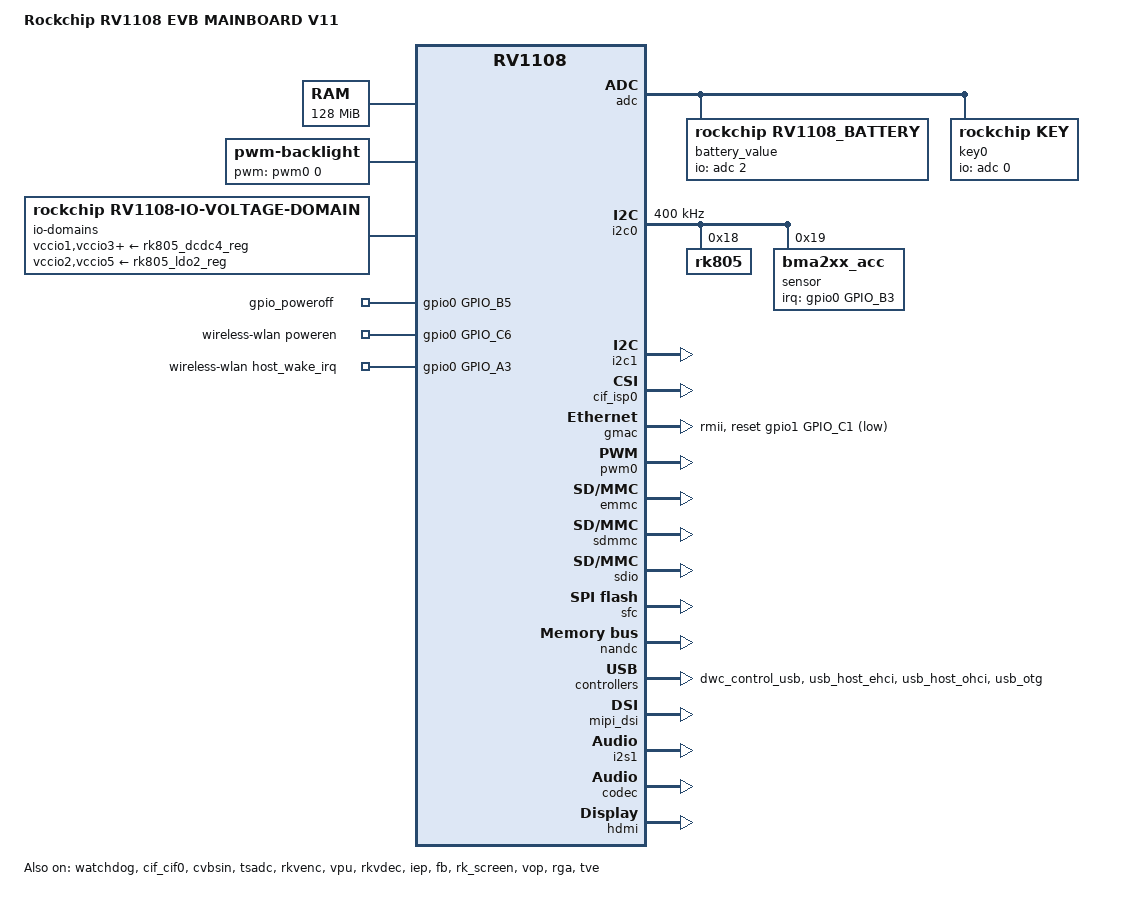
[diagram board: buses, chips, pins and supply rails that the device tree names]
/*
 * Copyright (c) 2016 Fuzhou Rockchip Electronics Co., Ltd
 *
 * This file is dual-licensed: you can use it either under the terms
 * of the GPL or the X11 license, at your option. Note that this dual
 * licensing only applies to this file, and not this project as a
 * whole.
 *
 *  a) This file is free software; you can redistribute it and/or
 *     modify it under the terms of the GNU General Public License as
 *     published by the Free Software Foundation; either version 2 of the
 *     License, or (at your option) any later version.
 *
 *     This file is distributed in the hope that it will be useful,
 *     but WITHOUT ANY WARRANTY; without even the implied warranty of
 *     MERCHANTABILITY or FITNESS FOR A PARTICULAR PURPOSE.  See the
 *     GNU General Public License for more details.
 *
 * Or, alternatively,
 *
 *  b) Permission is hereby granted, free of charge, to any person
 *     obtaining a copy of this software and associated documentation
 *     files (the "Software"), to deal in the Software without
 *     restriction, including without limitation the rights to use,
 *     copy, modify, merge, publish, distribute, sublicense, and/or
 *     sell copies of the Software, and to permit persons to whom the
 *     Software is furnished to do so, subject to the following
 *     conditions:
 *
 *     The above copyright notice and this permission notice shall be
 *     included in all copies or substantial portions of the Software.
 *
 *     THE SOFTWARE IS PROVIDED "AS IS", WITHOUT WARRANTY OF ANY KIND,
 *     EXPRESS OR IMPLIED, INCLUDING BUT NOT LIMITED TO THE WARRANTIES
 *     OF MERCHANTABILITY, FITNESS FOR A PARTICULAR PURPOSE AND
 *     NONINFRINGEMENT. IN NO EVENT SHALL THE AUTHORS OR COPYRIGHT
 *     HOLDERS BE LIABLE FOR ANY CLAIM, DAMAGES OR OTHER LIABILITY,
 *     WHETHER IN AN ACTION OF CONTRACT, TORT OR OTHERWISE, ARISING
 *     FROM, OUT OF OR IN CONNECTION WITH THE SOFTWARE OR THE USE OR
 *     OTHER DEALINGS IN THE SOFTWARE.
 */

/dts-v1/;

#include "rv1108.dtsi"
#include "lcd-ili9806e_mipi.dtsi" /* dispaly board v10 v11 */
//#include "lcd-e555hbm2_mipi.dtsi" /* display board v20*/
//#include "lcd-ili9807_mipi.dtsi" /* display board v30 */
#include "dt-bindings/suspend/rockchip-pm.h"

/ {
	model = "Rockchip RV1108 EVB MAINBOARD V11";
	compatible = "rockchip,rv1108-evb-v11", "rockchip,rv1108";

	memory {
		device_type = "memory";
		reg = <0x60000000 0x08000000>;
	};

	fiq-debugger {
		status = "okay";
		rockchip,serial-id = <2>;
		pinctrl-0 = <&uart2m0_xfer>;
	};

	rockchip_suspend: rockchip_suspend {
		rockchip,ctrbits = <
			(0
			|RKPM_CTR_GTCLKS
			|RKPM_CTR_PLLS
			/*|RKPM_CTR_ARMOFF_LPMD*/
			|RKPM_CTR_ARMLOGDP_LPMD
			/*|RKPM_CTR_IDLESRAM_MD*/
			|RKPM_CTR_DDR
			|RKPM_CTR_PMIC
			/*|RKPM_CTR_BUS_IDLE*/
			|RKPM_CTR_SYSCLK_32K
			)
			>;
		rockchip,pmic-suspend_gpios = <0>;
	};

	chosen {
		bootargs = "user_debug=31 rockchip_jtag noinitrd root=/dev/mtdblock3 rootfstype=squashfs";
	};

	ion {
		compatible = "rockchip,ion";
		#address-cells = <1>;
		#size-cells = <0>;

		/* memory region for dsp pool, start from 0x62000000 */
		dsp {
			compatible = "rockchip,ion-heap";
			rockchip,ion_heap = <2>;
			reg = <0x62000000 0x100000>; /* 1MB@32M */
		};
		ion_cma: rockchip,ion-heap@4 { /* CMA HEAP */
			compatible = "rockchip,ion-heap";
			rockchip,ion_heap = <4>;
			reg = <0x00000000 0x04400000>; /* 68MB */
		};
		rockchip,ion-heap@0 { /* VMALLOC HEAP */
			compatible = "rockchip,ion-heap";
			rockchip,ion_heap = <0>;
		};
	};

	backlight: backlight {
		compatible = "pwm-backlight";
		pwms = <&pwm0 0 25000>;
		brightness-levels = <
			  0   1   2   3   4   5   6   7
			  8   9  10  11  12  13  14  15
			 16  17  18  19  20  21  22  23
			 24  25  26  27  28  29  30  31
			 32  33  34  35  36  37  38  39
			 40  41  42  43  44  45  46  47
			 48  49  50  51  52  53  54  55
			 56  57  58  59  60  61  62  63
			 64  65  66  67  68  69  70  71
			 72  73  74  75  76  77  78  79
			 80  81  82  83  84  85  86  87
			 88  89  90  91  92  93  94  95
			 96  97  98  99 100 101 102 103
			104 105 106 107 108 109 110 111
			112 113 114 115 116 117 118 119
			120 121 122 123 124 125 126 127
			128 129 130 131 132 133 134 135
			136 137 138 139 140 141 142 143
			144 145 146 147 148 149 150 151
			152 153 154 155 156 157 158 159
			160 161 162 163 164 165 166 167
			168 169 170 171 172 173 174 175
			176 177 178 179 180 181 182 183
			184 185 186 187 188 189 190 191
			192 193 194 195 196 197 198 199
			200 201 202 203 204 205 206 207
			208 209 210 211 212 213 214 215
			216 217 218 219 220 221 222 223
			224 225 226 227 228 229 230 231
			232 233 234 235 236 237 238 239
			240 241 242 243 244 245 246 247
			248 249 250 251 252 253 254 255>;
		default-brightness-level = <200>;
	};

	io-domains {
		compatible = "rockchip,rv1108-io-voltage-domain";
		rockchip,grf = <&grf>;
		rockchip,pmugrf = <&pmugrf>;

		/* GRF_IO_VSEL */
		status = "okay";
		vccio1-supply = <&rk805_dcdc4_reg>;
		vccio2-supply = <&rk805_ldo2_reg>;
		vccio3-supply = <&rk805_dcdc4_reg>;
		vccio5-supply = <&rk805_ldo2_reg>;

		/* PMU_GRF_IO_VSEL */
		pmu-supply = <&rk805_dcdc4_reg>;
	};

	/* pmic_sleep */
	gpio_poweroff {
		compatible = "gpio-poweroff";
		gpios = <&gpio0 GPIO_B5 GPIO_ACTIVE_HIGH>;
		status = "okay";
	};

	wireless-wlan {
		compatible = "wlan-platdata";
		wifi_chip_type = "rtl8723cs";
		sdio_vref = <0>;
		WIFI,poweren_gpio = <&gpio0 GPIO_C6 GPIO_ACTIVE_HIGH>;
		WIFI,host_wake_irq = <&gpio0 GPIO_A3 GPIO_ACTIVE_HIGH>;
		status = "okay";
	};

	rockchip_audio {
		compatible = "rockchip,rv1108-audio";
		dais {
			dai0 {
				audio-codec = <&codec>;
				audio-controller = <&i2s1>;
				format = "i2s";
			};
		};
	};
};

&clk_core_dvfs_table {

	operating-points = <
		/* KHz	  uV */
		408000 975000
		600000 975000
		816000 1025000
		1008000 1150000
		>;
	status = "okay";
};

&watchdog {
	status = "okay";
	rockchip,timeout = <5>;
	rockchip,atboot = <0>;
};

&adc {
	status = "okay";

	battery_value {
		compatible = "rockchip,rv1108_battery";
		io-channels = <&adc 2>;
		battery-levels = <
			3800 3853 3856 3859 3862 3865 3868 3871 3874 3877
			3880 3883 3886 3389 3892 3895 3898 3901 3904 3907
			3910 3913 3916 3919 3922 3925 3928 3931 3934 3937
			3940 3943 3946 3949 3952 3955 3958 3961 3964 3967
			3970 3973 3976 3979 3982 3985 3988 3991 3994 3997
			4000 4003 4006 4009 4012 4015 4018 4021 4024 4027
			4030 4033 4036 4039 4042 4045 4048 4051 4054 4057
			4060 4063 4066 4069 4072 4075 4080 4085 4090 4095
			4100 4105 4110 4115 4120 4125 4130 4135 4140 4145
			4150 4155 4160 4165 4170 4175 4180 4185 4190 4200>;
	};

	key0 {
		compatible = "rockchip,key";
		io-channels = <&adc 0>;
		adc-drift = <45>;

		tab-key {
			linux,code = <15>;
			label = "tab";
			rockchip,adc_value = <685>;
		};

		enter-key {
			linux,code = <28>;
			label = "volume down";
			rockchip,adc_value = <802>;
		};

		up-key {
			linux,code = <103>;
			label = "up";
			rockchip,adc_value = <238>;
		};

		down-key {
			linux,code = <108>;
			label = "down";
			rockchip,adc_value = <353>;
		};

		left-key {
			linux,code = <105>;
			label = "left";
			rockchip,adc_value = <465>;
		};

		right-key {
			linux,code = <106>;
			label = "right";
			rockchip,adc_value = <109>;
		};

		menu-key {
			linux,code = <127>;
			label = "menu";
			rockchip,adc_value = <581>;
		};

		esc-key {
			linux,code = <1>;
			label = "esc";
			rockchip,adc_value = <1>;
		};
	};
};

&i2c0 {
	status = "okay";

	i2c-scl-rising-time-ns = <275>;
	i2c-scl-falling-time-ns = <16>;
	clock-frequency = <400000>;
	nack-retry = <1>;

	rk805: rk805@18 {
		reg = <0x18>;
		status = "okay";
	};

	sensor: sensor@19 {
		compatible = "bma2xx_acc";
		reg = <0x19>;
		type = <2>;
		irq-gpio = <&gpio0 GPIO_B3 IRQ_TYPE_LEVEL_HIGH>;
		irq_enable = <0>;
		poll_delay_ms = <30>;
		layout = <2>;
		status = "okay";
	};

	nvp6124: nvp6124@30 {
		status = "disabled";
		compatible = "rockchip,nvp";
		reg = <0x30>;
		device_type = "v4l2-i2c-subdev";
		/* 1 or 2 or 4 */
		channels = <4>;
		/* 1.8v or 3.3v */
		apio_vol = <3300>;
		/* PAL or NTSC */
		cvbs_mode = "PAL";
		reset-gpio = <&gpio3 GPIO_C6 GPIO_ACTIVE_LOW>;
		irq-gpio = <&gpio3 GPIO_D3 GPIO_ACTIVE_HIGH>;
		pinctrl-names = "default", "sleep";
		pinctrl-0 = <&cif_dvp_d2d9 &cif_dvp_clk_in>;
		pinctrl-1 = <&cif_dvp_d2d9_sleep &cif_dvp_clk_in_sleep>;
	};
};

&i2c1 {
	status = "okay";

#include "rv1108-camb-v11.dtsi" /* camera board v11 */
//#include "rv1108-camb-v12.dtsi" /* camera board v12 */
//#include "rv1108-camb-v13.dtsi" /* camera board v13 */
};

&cif1to4 {
	status = "disabled";
};

&cif_cif0 {
	rockchip,camera-modules-attached = <&nvp6124 &cvbsin>;
	status = "okay";
};

&cif_cif1 {
	rockchip,camera-modules-attached = <&nvp6124>;
	status = "disabled";
};

&cif_cif2 {
	rockchip,camera-modules-attached = <&nvp6124>;
	status = "disabled";
};

&cif_cif3 {
	rockchip,camera-modules-attached = <&nvp6124>;
	status = "disabled";
};

&cif_isp0 {
	rockchip,camera-modules-attached = <&camera0 &camera1 &camera2>;
	status = "okay";
};

&cvbsin {
	status = "okay";
};

&gmac_clkin {
	clock-frequency = <50000000>;
};

&gmac {
	status = "okay";

	/* pmu_regulator = "act_ldo5"; */
	/* power-gpio = <&gpio0 GPIO_A6 GPIO_ACTIVE_HIGH>; */
	reset-gpio = <&gpio1 GPIO_C1 GPIO_ACTIVE_LOW>;

	phy-mode = "rmii";
	clock_in_out = "output";
};

&pwm0 {
	status = "okay";
};

&emmc {
	clock-frequency = <50000000>;
	clock-freq-min-max = <400000 50000000>;
	supports-highspeed;
	supports-emmc;
	bootpart-no-access;
	supports-DDR_MODE;
	caps2-mmc-hs200;
	ignore-pm-notify;
	keep-power-in-suspend;
	status = "okay";
};

&sdmmc {
	clock-frequency = <50000000>;
	clock-freq-min-max = <200000 50000000>;
	supports-highspeed;
	supports-sd;
	broken-cd;
	card-detect-delay = <200>;
	ignore-pm-notify;
	keep-power-in-suspend;
	power-inverted;
	status = "okay";
};

&sdio {
	clock-frequency = <50000000>;
	clock-freq-min-max = <200000 50000000>;
	supports-highspeed;
	supports-sdio;
	ignore-pm-notify;
	keep-power-in-suspend;
	cap-sdio-irq;
	status = "okay";
};

&sfc {
	status = "okay";
};

&nandc {
	status = "okay";
};

#include "rv1108-rk805-v11.dtsi" /* rk805 v11 */
//#include "rv1108-rk805-v12.dtsi" /* rk805 v12 */

&dwc_control_usb {
	vbus_drv = <&gpio0 GPIO_B0 GPIO_ACTIVE_LOW>;
	rockchip,remote_wakeup;
	rockchip,usb_irq_wakeup;
	status = "okay";
};

&tsadc {
	status = "okay";
};

&usb_host_ehci {
	status = "okay";
};

&usb_host_ohci {
	status = "okay";
};

&usb_otg {
	rockchip,high-bandwidth;
	status = "okay";
};

&rkvenc {
	status = "okay";
};

&vpu {
	status = "okay";
};

&rkvdec {
	status = "okay";
};

&iep {
	status = "okay";
};

&fb {
	status = "okay";
};

&rk_screen {
	status = "okay";
};

&mipi_dsi {
	status = "okay";
};

&vop {
	status = "okay";
	backlight = <&backlight>;
	pinctrl-names = "default", "gpio";
	pinctrl-0 = <&lcdc_mipi_data>;
	pinctrl-1 = <&lcdc_mipi_gpio>;
	power_ctr: power_ctr {
		rockchip,debug = <0>;
		/*
		lcd_en: lcd_en {
			rockchip,power_type = <GPIO>;
			gpios = <&gpio3 GPIO_C4 GPIO_ACTIVE_HIGH>;
			rockchip,delay = <10>;
		};
		*/
	};
};

&rga {
	status = "okay";
};

&i2s1 {
	status = "okay";
};

&codec {
	spk_ctl_io = <&gpio0 GPIO_A5 GPIO_ACTIVE_HIGH>;
	status = "okay";
};

&hdmi {
	status = "okay";
};

&tve {
	status = "okay";
};
